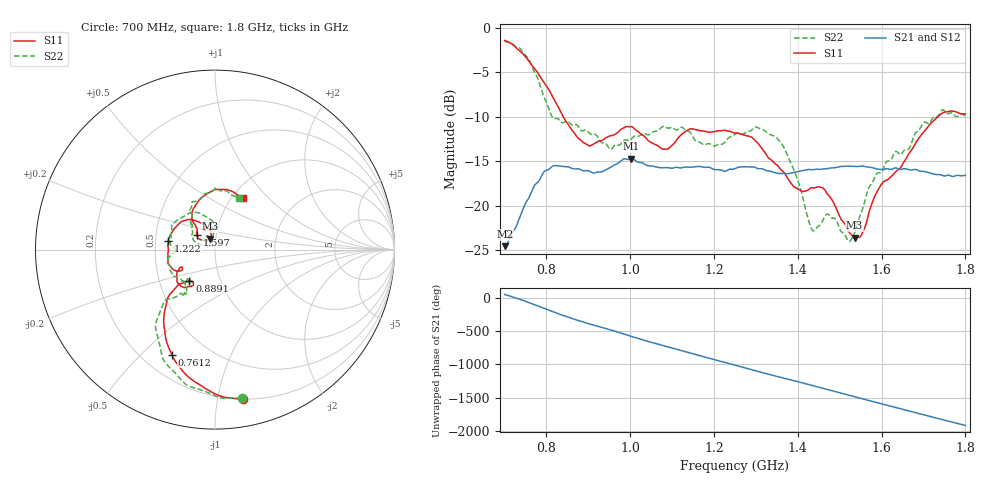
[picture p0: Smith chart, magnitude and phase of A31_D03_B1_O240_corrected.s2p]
! Created with skrf 1.9.0 (http://scikit-rf.org).
# Hz S RI R 50.0
!freq ReS11 ImS11 ReS21 ImS21 ReS12 ImS12 ReS22 ImS22
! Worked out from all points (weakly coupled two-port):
!   1601 points, 700 MHz to 1.8 GHz, reference 50 ohm
!   highest |S21| = -14.69 dB at 1.002 GHz (marker M1); lowest = -24.5 dB at 700.7 MHz (marker M2)
!   lowest |S11| = -23.6 dB at 1.535 GHz (marker M3), VSWR 1.14, Z = 47 + j5.68 ohm
!   |S11| at or under -10 dB: 840 MHz to 1.734 GHz (894 MHz wide, 69.5 % of centre)
!   |S22| runs from -24.0 to -1.5 dB; largest |S21 - S12| = 0.0034
!   S11 on the Smith chart (normalised r, x): 700 MHz: 0.20, -1.19; 761.2 MHz: 0.32, -0.62; 889.1 MHz: 0.71, -0.26; 1.222 GHz: 0.58, +0.06; 1.597 GHz: 0.81, +0.13; 1.8 GHz: 1.12, +0.72
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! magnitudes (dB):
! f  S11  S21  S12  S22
! 700 MHz  -1.4  -24.5  -24.3  -1.5
! 700.7 MHz  -1.4  -24.5  -24.2  -1.5
! 761.2 MHz  -4.0  -18.8  -18.7  -3.9
! 814.8 MHz  -7.8  -15.5  -15.6  -10.1
! 883.6 MHz  -12.7  -16.0  -15.9  -11.6
! 889.1 MHz  -12.9  -16.1  -16.0  -11.5
! 952.3 MHz  -12.1  -15.7  -15.7  -13.7
! 1.002 GHz  -11.1  -14.7  -14.8  -12.5
! 1.067 GHz  -13.3  -15.7  -15.6  -11.5
! 1.222 GHz  -11.5  -16.1  -16.1  -13.0
! 1.25 GHz  -11.8  -15.8  -15.8  -12.0
! 1.302 GHz  -12.9  -15.8  -15.7  -11.2
! 1.357 GHz  -15.8  -16.4  -16.3  -12.7
! 1.434 GHz  -18.0  -16.0  -15.9  -22.7
! 1.471 GHz  -18.7  -15.8  -15.8  -20.9
! 1.521 GHz  -22.8  -15.5  -15.6  -24.0
! 1.535 GHz  -23.6  -15.6  -15.6  -23.1
! 1.555 GHz  -23.0  -15.5  -15.6  -20.4
! 1.597 GHz  -17.8  -15.9  -15.9  -16.3
! 1.617 GHz  -17.0  -15.9  -15.8  -15.0
! 1.738 GHz  -9.8  -16.5  -16.5  -9.7
! 1.8 GHz  -9.7  -16.6  -16.6  -9.9
